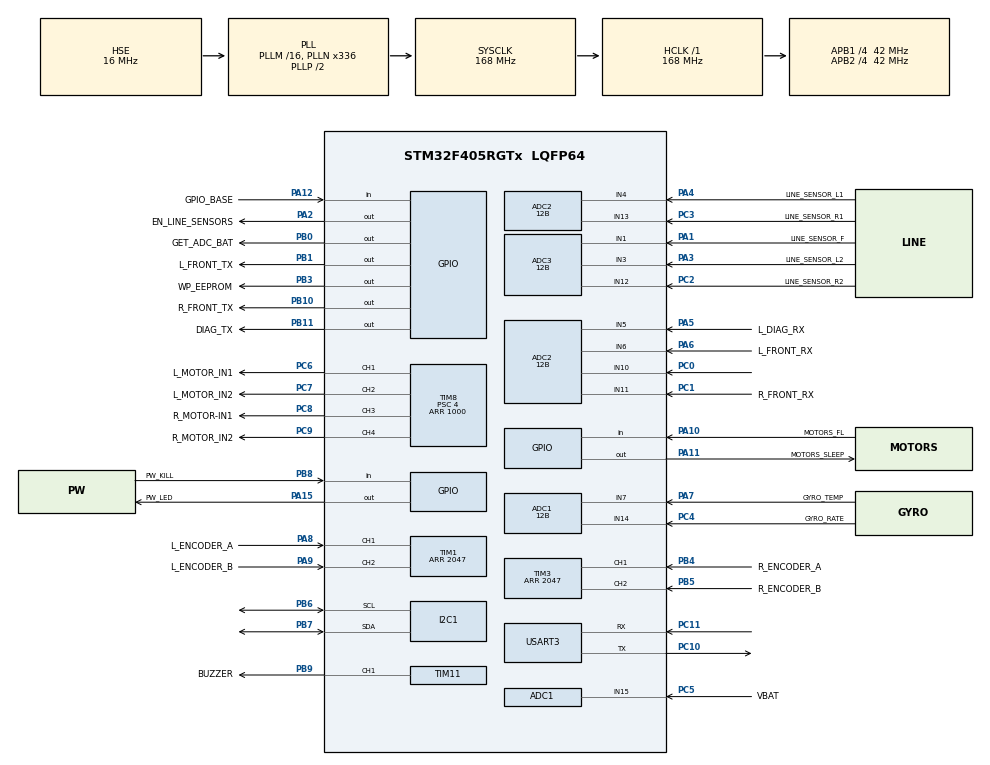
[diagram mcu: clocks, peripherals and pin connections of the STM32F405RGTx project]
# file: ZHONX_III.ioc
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ADC1.Channel=ADC_CHANNEL_15
ADC1.Channel-13\#ChannelRegularConversion=ADC_CHANNEL_7
ADC1.Channel-14\#ChannelRegularConversion=ADC_CHANNEL_TEMPSENSOR
ADC1.Channel-15\#ChannelRegularConversion=ADC_CHANNEL_15
ADC1.Channel-19\#ChannelInjectedConversion=ADC_CHANNEL_14
ADC1.Channel-2\#ChannelRegularConversion=ADC_CHANNEL_7
ADC1.ClockPrescaler=ADC_CLOCK_SYNC_PCLK_DIV2
ADC1.ContinuousConvMode=DISABLE
ADC1.DMAContinuousRequests=ENABLE
ADC1.DataAlign=ADC_DATAALIGN_RIGHT
ADC1.DiscontinuousConvMode=ENABLE
ADC1.EOCSelection=ADC_EOC_SEQ_CONV
ADC1.EnableAnalogWatchDog=false
ADC1.ExternalTrigConv=ADC_EXTERNALTRIGCONV_T4_CC4
ADC1.ExternalTrigConvEdge=ADC_EXTERNALTRIGCONVEDGE_RISING
ADC1.ExternalTrigInjecConv=ADC_EXTERNALTRIGINJECCONV_T5_TRGO
ADC1.ExternalTrigInjecConvEdge=ADC_EXTERNALTRIGINJECCONVEDGE_RISING
ADC1.InjNumberOfConversion=1
ADC1.InjectedConvMode=None
ADC1.InjectedOffset-19\#ChannelInjectedConversion=0
ADC1.NbrOfConversion=3
ADC1.NbrOfDiscConversion=3
ADC1.Rank-13\#ChannelRegularConversion=1
ADC1.Rank-14\#ChannelRegularConversion=2
ADC1.Rank-15\#ChannelRegularConversion=3
ADC1.Rank-19\#ChannelInjectedConversion=1
ADC1.Rank-2\#ChannelRegularConversion=1
ADC1.Resolution=ADC_RESOLUTION_12B
ADC1.SamplingTime-13\#ChannelRegularConversion=ADC_SAMPLETIME_28CYCLES
ADC1.SamplingTime-14\#ChannelRegularConversion=ADC_SAMPLETIME_28CYCLES
ADC1.SamplingTime-15\#ChannelRegularConversion=ADC_SAMPLETIME_28CYCLES
ADC1.SamplingTime-19\#ChannelInjectedConversion=ADC_SAMPLETIME_3CYCLES
ADC1.SamplingTime-2\#ChannelRegularConversion=ADC_SAMPLETIME_28CYCLES
ADC1.ScanConvMode=ENABLE
ADC1.master=1
ADC2.Channel=ADC_CHANNEL_11
ADC2.Channel-10\#ChannelInjectedConversion=ADC_CHANNEL_4
ADC2.Channel-11\#ChannelInjectedConversion=ADC_CHANNEL_13
ADC2.Channel-4\#ChannelRegularConversion=ADC_CHANNEL_6
ADC2.Channel-8\#ChannelInjectedConversion=ADC_CHANNEL_4
ADC2.Channel-9\#ChannelInjectedConversion=ADC_CHANNEL_11
ADC2.ContinuousConvMode=DISABLE
ADC2.DMAContinuousRequests=DISABLE
ADC2.DataAlign=ADC_DATAALIGN_RIGHT
ADC2.DiscontinuousConvMode=DISABLE
ADC2.EOCSelection=ADC_EOC_SINGLE_CONV
ADC2.EnableAnalogWatchDog=false
ADC2.ExternalTrigConvEdge=ADC_EXTERNALTRIGCONVEDGE_NONE
ADC2.InjNumberOfConversion=0
ADC2.InjectedOffset-10\#ChannelInjectedConversion=0
ADC2.InjectedOffset-11\#ChannelInjectedConversion=0
ADC2.InjectedOffset-8\#ChannelInjectedConversion=0
ADC2.InjectedOffset-9\#ChannelInjectedConversion=0
ADC2.NbrOfConversion=1
ADC2.Rank-10\#ChannelInjectedConversion=1
ADC2.Rank-11\#ChannelInjectedConversion=2
ADC2.Rank-4\#ChannelRegularConversion=1
ADC2.Rank-8\#ChannelInjectedConversion=1
ADC2.Rank-9\#ChannelInjectedConversion=2
ADC2.Resolution=ADC_RESOLUTION_12B
ADC2.SamplingTime-10\#ChannelInjectedConversion=ADC_SAMPLETIME_15CYCLES
ADC2.SamplingTime-11\#ChannelInjectedConversion=ADC_SAMPLETIME_15CYCLES
ADC2.SamplingTime-4\#ChannelRegularConversion=ADC_SAMPLETIME_144CYCLES
ADC2.SamplingTime-8\#ChannelInjectedConversion=ADC_SAMPLETIME_15CYCLES
ADC2.SamplingTime-9\#ChannelInjectedConversion=ADC_SAMPLETIME_15CYCLES
ADC2.ScanConvMode=ENABLE
ADC3.Channel=ADC_CHANNEL_10
ADC3.Channel-59\#ChannelRegularConversion=ADC_CHANNEL_3
ADC3.Channel-60\#ChannelRegularConversion=ADC_CHANNEL_1
ADC3.Channel-61\#ChannelRegularConversion=ADC_CHANNEL_10
ADC3.Channel-62\#ChannelInjectedConversion=ADC_CHANNEL_3
ADC3.Channel-63\#ChannelInjectedConversion=ADC_CHANNEL_1
ADC3.Channel-64\#ChannelInjectedConversion=ADC_CHANNEL_10
ADC3.ContinuousConvMode=DISABLE
ADC3.DMAContinuousRequests=DISABLE
ADC3.DataAlign=ADC_DATAALIGN_RIGHT
ADC3.DiscontinuousConvMode=DISABLE
ADC3.EOCSelection=ADC_EOC_SINGLE_CONV
ADC3.EnableAnalogWatchDog=false
ADC3.ExternalTrigConv=ADC_SOFTWARE_START
ADC3.ExternalTrigConvEdge=ADC_EXTERNALTRIGCONVEDGE_NONE
ADC3.InjNumberOfConversion=0
ADC3.InjectedOffset-62\#ChannelInjectedConversion=0
ADC3.InjectedOffset-63\#ChannelInjectedConversion=0
ADC3.InjectedOffset-64\#ChannelInjectedConversion=0
ADC3.NbrOfConversion=3
ADC3.Rank-59\#ChannelRegularConversion=1
ADC3.Rank-60\#ChannelRegularConversion=2
ADC3.Rank-61\#ChannelRegularConversion=3
ADC3.Rank-62\#ChannelInjectedConversion=1
ADC3.Rank-63\#ChannelInjectedConversion=2
ADC3.Rank-64\#ChannelInjectedConversion=3
ADC3.Resolution=ADC_RESOLUTION_12B
ADC3.SamplingTime-59\#ChannelRegularConversion=ADC_SAMPLETIME_15CYCLES
ADC3.SamplingTime-60\#ChannelRegularConversion=ADC_SAMPLETIME_15CYCLES
ADC3.SamplingTime-61\#ChannelRegularConversion=ADC_SAMPLETIME_28CYCLES
ADC3.SamplingTime-62\#ChannelInjectedConversion=ADC_SAMPLETIME_15CYCLES
ADC3.SamplingTime-63\#ChannelInjectedConversion=ADC_SAMPLETIME_15CYCLES
ADC3.SamplingTime-64\#ChannelInjectedConversion=ADC_SAMPLETIME_15CYCLES
ADC3.ScanConvMode=ENABLE
Dma.ADC1.2.Direction=DMA_PERIPH_TO_MEMORY
Dma.ADC1.2.FIFOMode=DMA_FIFOMODE_DISABLE
Dma.ADC1.2.Instance=DMA2_Stream0
Dma.ADC1.2.MemDataAlignment=DMA_MDATAALIGN_HALFWORD
Dma.ADC1.2.MemInc=DMA_MINC_ENABLE
Dma.ADC1.2.Mode=DMA_CIRCULAR
Dma.ADC1.2.PeriphDataAlignment=DMA_PDATAALIGN_HALFWORD
Dma.ADC1.2.PeriphInc=DMA_PINC_DISABLE
Dma.ADC1.2.Priority=DMA_PRIORITY_LOW
Dma.I2C1_TX.3.Direction=DMA_MEMORY_TO_PERIPH
Dma.I2C1_TX.3.FIFOMode=DMA_FIFOMODE_DISABLE
Dma.I2C1_TX.3.Instance=DMA1_Stream6
Dma.I2C1_TX.3.MemDataAlignment=DMA_MDATAALIGN_BYTE
Dma.I2C1_TX.3.MemInc=DMA_MINC_ENABLE
Dma.I2C1_TX.3.Mode=DMA_NORMAL
Dma.I2C1_TX.3.PeriphDataAlignment=DMA_PDATAALIGN_BYTE
Dma.I2C1_TX.3.PeriphInc=DMA_PINC_DISABLE
Dma.I2C1_TX.3.Priority=DMA_PRIORITY_MEDIUM
Dma.Request0=USART3_RX
Dma.Request1=USART3_TX
Dma.Request2=ADC1
Dma.Request3=I2C1_TX
Dma.USART3_RX.0.Direction=DMA_PERIPH_TO_MEMORY
Dma.USART3_RX.0.FIFOMode=DMA_FIFOMODE_DISABLE
Dma.USART3_RX.0.Instance=DMA1_Stream1
Dma.USART3_RX.0.MemDataAlignment=DMA_MDATAALIGN_BYTE
Dma.USART3_RX.0.MemInc=DMA_MINC_ENABLE
Dma.USART3_RX.0.Mode=DMA_NORMAL
Dma.USART3_RX.0.PeriphDataAlignment=DMA_PDATAALIGN_BYTE
Dma.USART3_RX.0.PeriphInc=DMA_PINC_DISABLE
Dma.USART3_RX.0.Priority=DMA_PRIORITY_LOW
Dma.USART3_TX.1.Direction=DMA_MEMORY_TO_PERIPH
Dma.USART3_TX.1.FIFOMode=DMA_FIFOMODE_ENABLE
Dma.USART3_TX.1.FIFOThreshold=DMA_FIFO_THRESHOLD_FULL
Dma.USART3_TX.1.Instance=DMA1_Stream3
Dma.USART3_TX.1.MemBurst=DMA_MBURST_SINGLE
Dma.USART3_TX.1.MemDataAlignment=DMA_MDATAALIGN_BYTE
Dma.USART3_TX.1.MemInc=DMA_MINC_ENABLE
Dma.USART3_TX.1.Mode=DMA_NORMAL
Dma.USART3_TX.1.PeriphBurst=DMA_PBURST_SINGLE
Dma.USART3_TX.1.PeriphDataAlignment=DMA_PDATAALIGN_BYTE
Dma.USART3_TX.1.PeriphInc=DMA_PINC_DISABLE
Dma.USART3_TX.1.Priority=DMA_PRIORITY_LOW
I2C1.DualAddressMode=I2C_DUALADDRESS_DISABLE
I2C1.GeneralCallMode=I2C_GENERALCALL_ENABLE
I2C1.I2C_Mode=I2C_Fast
I2C1.NoStretchMode=I2C_NOSTRETCH_ENABLE
I2C1.OwnAddress=64
Mcu.Family=STM32F4
Mcu.Name=STM32F405RGTx
Mcu.Package=LQFP64
NVIC.ADC_IRQn=true\:0\:4\:true\:false\:true\:true
NVIC.DMA1_Stream1_IRQn=true\:1\:1\:true\:false\:true\:true
NVIC.DMA1_Stream3_IRQn=true\:1\:3\:true\:false\:true\:true
NVIC.DMA1_Stream6_IRQn=true\:1\:3\:true\:false\:true\:false
NVIC.DMA2_Stream0_IRQn=true\:0\:6\:true\:false\:true\:true
NVIC.I2C1_ER_IRQn=true\:1\:2\:true\:false\:true\:true
NVIC.I2C1_EV_IRQn=true\:1\:2\:true\:false\:true\:true
NVIC.PriorityGroup=NVIC_PRIORITYGROUP_1
NVIC.TIM1_UP_TIM10_IRQn=true\:0\:2\:true\:false\:true\:true
NVIC.TIM2_IRQn=true\:0\:4\:true\:false\:true\:true
NVIC.TIM3_IRQn=true\:0\:2\:true\:false\:true\:true
NVIC.TIM4_IRQn=true\:0\:6\:true\:false\:true\:true
NVIC.TIM5_IRQn=true\:0\:1\:true\:false\:true\:true
NVIC.TIM6_DAC_IRQn=true\:1\:0\:true\:false\:true\:true
NVIC.TIM7_IRQn=true\:0\:3\:true\:false\:true\:true
NVIC.USART3_IRQn=true\:0\:5\:true\:false\:true\:true
PA0-WKUP.Mode=SYS_WakeUp0
PA0-WKUP.Signal=SYS_WKUP
PA1.GPIO_Label=LINE_SENSOR_F
PA1.GPIO_Mode=GPIO_MODE_ANALOG
PA1.GPIO_PuPd=GPIO_NOPULL
PA1.Signal=ADCx_IN1
PA10.GPIO_Label=MOTORS_FL
PA10.GPIO_Mode=GPIO_MODE_INPUT
PA10.GPIO_PuPd=GPIO_NOPULL
PA10.Signal=GPIO_Input
PA11.GPIO_Label=MOTORS_SLEEP
PA11.GPIO_ModeDefaultOutputPP=GPIO_MODE_OUTPUT_PP
PA11.GPIO_PuPd=GPIO_NOPULL
PA11.GPIO_Speed=GPIO_SPEED_FREQ_LOW
PA11.Signal=GPIO_Output
PA12.GPIO_Label=GPIO_BASE
PA12.GPIO_Mode=GPIO_MODE_INPUT
PA12.GPIO_PuPd=GPIO_PULLUP
PA12.Signal=GPIO_Input
PA13.Mode=Serial_Wire
PA13.Signal=SYS_JTMS-SWDIO
PA14.Mode=Serial_Wire
PA14.Signal=SYS_JTCK-SWCLK
PA15.GPIO_Label=PW_LED
PA15.GPIO_Mode=GPIO_MODE_OUTPUT_PP
PA15.GPIO_ModeDefaultOutputPP=GPIO_MODE_OUTPUT_PP
PA15.GPIO_PuPd=GPIO_NOPULL
PA15.GPIO_Speed=GPIO_SPEED_FREQ_HIGH
PA15.PinState=GPIO_PIN_RESET
PA15.Signal=GPIO_Output
PA2.GPIO_Label=EN_LINE_SENSORS
PA2.GPIO_ModeDefaultOutputPP=GPIO_MODE_OUTPUT_PP
PA2.GPIO_PuPd=GPIO_NOPULL
PA2.GPIO_Speed=GPIO_SPEED_FREQ_LOW
PA2.Signal=GPIO_Output
PA3.GPIO_Label=LINE_SENSOR_L2
PA3.GPIO_Mode=GPIO_MODE_ANALOG
PA3.GPIO_PuPd=GPIO_NOPULL
PA3.Signal=ADCx_IN3
PA4.GPIO_Label=LINE_SENSOR_L1
PA4.GPIO_Mode=GPIO_MODE_ANALOG
PA4.GPIO_PuPd=GPIO_NOPULL
PA4.Signal=ADCx_IN4
PA5.GPIO_Label=L_DIAG_RX
PA5.GPIO_Mode=GPIO_MODE_ANALOG
PA5.GPIO_PuPd=GPIO_NOPULL
PA5.Signal=ADCx_IN5
PA6.GPIO_Label=L_FRONT_RX
PA6.GPIO_Mode=GPIO_MODE_ANALOG
PA6.GPIO_PuPd=GPIO_NOPULL
PA6.Signal=ADCx_IN6
PA7.GPIO_Label=GYRO_TEMP
PA7.GPIO_Mode=GPIO_MODE_ANALOG
PA7.GPIO_PuPd=GPIO_NOPULL
PA7.Signal=ADCx_IN7
PA8.GPIO_Label=L_ENCODER_A
PA8.GPIO_ModeDefaultPP=GPIO_MODE_AF_PP
PA8.GPIO_PuPd=GPIO_NOPULL
PA8.GPIO_Speed=GPIO_SPEED_FREQ_VERY_HIGH
PA8.Signal=S_TIM1_CH1
PA9.GPIO_Label=L_ENCODER_B
PA9.GPIO_ModeDefaultPP=GPIO_MODE_AF_PP
PA9.GPIO_PuPd=GPIO_NOPULL
PA9.GPIO_Speed=GPIO_SPEED_FREQ_VERY_HIGH
PA9.Signal=S_TIM1_CH2
PB0.GPIO_Label=GET_ADC_BAT
PB0.GPIO_ModeDefaultOutputPP=GPIO_MODE_OUTPUT_PP
PB0.GPIO_PuPd=GPIO_NOPULL
PB0.GPIO_Speed=GPIO_SPEED_FREQ_VERY_HIGH
PB0.Signal=GPIO_Output
PB1.GPIO_Label=L_FRONT_TX
PB1.GPIO_ModeDefaultOutputPP=GPIO_MODE_OUTPUT_PP
PB1.GPIO_PuPd=GPIO_NOPULL
PB1.GPIO_Speed=GPIO_SPEED_FREQ_VERY_HIGH
PB1.Signal=GPIO_Output
PB10.GPIO_Label=R_FRONT_TX
PB10.GPIO_ModeDefaultOutputPP=GPIO_MODE_OUTPUT_PP
PB10.GPIO_PuPd=GPIO_NOPULL
PB10.GPIO_Speed=GPIO_SPEED_FREQ_VERY_HIGH
PB10.Signal=GPIO_Output
PB11.GPIO_Label=DIAG_TX
PB11.GPIO_ModeDefaultOutputPP=GPIO_MODE_OUTPUT_PP
PB11.GPIO_PuPd=GPIO_NOPULL
PB11.GPIO_Speed=GPIO_SPEED_FREQ_VERY_HIGH
PB11.Signal=GPIO_Output
PB3.GPIO_Label=WP_EEPROM
PB3.GPIO_ModeDefaultOutputPP=GPIO_MODE_OUTPUT_PP
PB3.GPIO_PuPd=GPIO_NOPULL
PB3.GPIO_Speed=GPIO_SPEED_FREQ_LOW
PB3.Signal=GPIO_Output
PB4.GPIO_Label=R_ENCODER_A
PB4.GPIO_ModeDefaultPP=GPIO_MODE_AF_PP
PB4.GPIO_PuPd=GPIO_NOPULL
PB4.GPIO_Speed=GPIO_SPEED_FREQ_VERY_HIGH
PB4.Signal=S_TIM3_CH1
PB5.GPIO_Label=R_ENCODER_B
PB5.GPIO_ModeDefaultPP=GPIO_MODE_AF_PP
PB5.GPIO_PuPd=GPIO_NOPULL
PB5.GPIO_Speed=GPIO_SPEED_FREQ_VERY_HIGH
PB5.Signal=S_TIM3_CH2
PB6.GPIO_Mode=GPIO_MODE_AF_OD
PB6.GPIO_PuPd=GPIO_NOPULL
PB6.GPIO_PuPdOD=GPIO_PULLUP
PB6.GPIO_Speed=GPIO_SPEED_FREQ_VERY_HIGH
PB6.Mode=I2C
PB6.Signal=I2C1_SCL
PB7.GPIO_Mode=GPIO_MODE_AF_OD
PB7.GPIO_PuPd=GPIO_NOPULL
PB7.GPIO_PuPdOD=GPIO_PULLUP
PB7.GPIO_Speed=GPIO_SPEED_FREQ_VERY_HIGH
PB7.Mode=I2C
PB7.Signal=I2C1_SDA
PB8.GPIO_Label=PW_KILL
PB8.GPIO_Mode=GPIO_MODE_INPUT
PB8.GPIO_PuPd=GPIO_PULLUP
PB8.Signal=GPIO_Input
PB9.GPIO_Label=BUZZER
PB9.GPIO_Speed=GPIO_SPEED_FREQ_VERY_HIGH
PB9.Signal=S_TIM11_CH1
PC0.Signal=ADCx_IN10
PC1.GPIO_Label=R_FRONT_RX
PC1.GPIO_Mode=GPIO_MODE_ANALOG
PC1.GPIO_PuPd=GPIO_NOPULL
PC1.Signal=ADCx_IN11
PC10.Mode=Asynchronous
PC10.Signal=USART3_TX
PC11.Mode=Asynchronous
PC11.Signal=USART3_RX
PC2.GPIO_Label=LINE_SENSOR_R2
PC2.GPIO_Mode=GPIO_MODE_ANALOG
PC2.GPIO_PuPd=GPIO_NOPULL
PC2.Signal=ADCx_IN12
PC3.GPIO_Label=LINE_SENSOR_R1
PC3.GPIO_Mode=GPIO_MODE_ANALOG
PC3.GPIO_PuPd=GPIO_NOPULL
PC3.Signal=ADCx_IN13
PC4.GPIO_Label=GYRO_RATE
PC4.GPIO_Mode=GPIO_MODE_ANALOG
PC4.GPIO_PuPd=GPIO_NOPULL
PC4.Signal=ADCx_IN14
PC5.GPIO_Label=VBAT
PC5.GPIO_Mode=GPIO_MODE_ANALOG
PC5.GPIO_PuPd=GPIO_NOPULL
PC5.Signal=ADCx_IN15
PC6.GPIO_Label=L_MOTOR_IN1
PC6.GPIO_ModeDefaultPP=GPIO_MODE_AF_PP
PC6.GPIO_PuPd=GPIO_NOPULL
PC6.GPIO_Speed=GPIO_SPEED_FREQ_VERY_HIGH
PC6.Signal=S_TIM8_CH1
PC7.GPIO_Label=L_MOTOR_IN2
PC7.GPIO_ModeDefaultPP=GPIO_MODE_AF_PP
PC7.GPIO_PuPd=GPIO_NOPULL
PC7.GPIO_Speed=GPIO_SPEED_FREQ_VERY_HIGH
PC7.Signal=S_TIM8_CH2
PC8.GPIO_Label=R_MOTOR-IN1
PC8.GPIO_ModeDefaultPP=GPIO_MODE_AF_PP
PC8.GPIO_PuPd=GPIO_NOPULL
PC8.GPIO_Speed=GPIO_SPEED_FREQ_VERY_HIGH
PC8.Signal=S_TIM8_CH3
PC9.GPIO_Label=R_MOTOR_IN2
PC9.GPIO_ModeDefaultPP=GPIO_MODE_AF_PP
PC9.GPIO_PuPd=GPIO_NOPULL
PC9.GPIO_Speed=GPIO_SPEED_FREQ_VERY_HIGH
PC9.Signal=S_TIM8_CH4
PH0-OSC_IN.Mode=HSE-External-Oscillator
PH0-OSC_IN.Signal=RCC_OSC_IN
PH1-OSC_OUT.Mode=HSE-External-Oscillator
PH1-OSC_OUT.Signal=RCC_OSC_OUT
ProjectManager.HeapSize=0x400
ProjectManager.StackSize=0x200
ProjectManager.TargetToolchain=SW4STM32
RCC.48MHZClocksFreq_Value=48000000
RCC.AHBFreq_Value=168000000
RCC.APB1CLKDivider=RCC_HCLK_DIV4
RCC.APB1Freq_Value=42000000
RCC.APB1TimFreq_Value=84000000
RCC.APB2CLKDivider=RCC_HCLK_DIV4
RCC.APB2Freq_Value=42000000
RCC.APB2TimFreq_Value=84000000
RCC.CortexFreq_Value=168000000
RCC.HCLKFreq_Value=168000000
RCC.HSE_VALUE=16000000
RCC.HSI_VALUE=16000000
RCC.LSE_VALUE=32768
RCC.PLLN=336
RCC.PLLQ=7
RCC.PLLSourceVirtual=RCC_PLLSOURCE_HSE
RCC.SYSCLKFreq_VALUE=168000000
RCC.SYSCLKSource=RCC_SYSCLKSOURCE_PLLCLK
RCC.VCOOutputFreq_Value=336000000
SH.ADCx_IN1.0=ADC3_IN1,IN1
SH.ADCx_IN10.0=ADC2_IN10,IN10
SH.ADCx_IN10.1=ADC3_IN10,IN10
SH.ADCx_IN11.0=ADC2_IN11,IN11
SH.ADCx_IN12.0=ADC3_IN12,IN12
SH.ADCx_IN13.0=ADC2_IN13,IN13
SH.ADCx_IN14.0=ADC1_IN14,IN14
SH.ADCx_IN15.0=ADC1_IN15,IN15
SH.ADCx_IN3.0=ADC3_IN3,IN3
SH.ADCx_IN4.0=ADC2_IN4,IN4
SH.ADCx_IN5.0=ADC2_IN5,IN5
SH.ADCx_IN6.0=ADC2_IN6,IN6
SH.ADCx_IN7.0=ADC1_IN7,IN7
SH.S_TIM11_CH1.0=TIM11_CH1,PWM Generation1 CH1
SH.S_TIM1_CH1.0=TIM1_CH1,Encoder_Interface
SH.S_TIM1_CH2.0=TIM1_CH2,Encoder_Interface
SH.S_TIM3_CH1.0=TIM3_CH1,Encoder_Interface
SH.S_TIM3_CH2.0=TIM3_CH2,Encoder_Interface
SH.S_TIM8_CH1.0=TIM8_CH1,PWM Generation1 CH1
SH.S_TIM8_CH2.0=TIM8_CH2,PWM Generation2 CH2
SH.S_TIM8_CH3.0=TIM8_CH3,Output Compare3 CH3
SH.S_TIM8_CH4.0=TIM8_CH4,PWM Generation4 CH4
TIM1.ClockDivision=TIM_CLOCKDIVISION_DIV1
TIM1.EncoderMode=TIM_ENCODERMODE_TI12
TIM1.IC1Filter=8
TIM1.IC1Filter-Encoder_Interface=3
TIM1.IC1Prescaler=TIM_ICPSC_DIV4
TIM1.IC1Prescaler-Encoder_Interface=TIM_ICPSC_DIV8
TIM1.IC2Filter=8
TIM1.IC2Prescaler=TIM_ICPSC_DIV4
TIM1.Period=2047
TIM11.Channel=TIM_CHANNEL_1
TIM11.OCPolarity_1-PWM\ Generation1\ CH1=TIM_OCPOLARITY_LOW
TIM11.Period=100
TIM11.Prescaler=10000
TIM11.Pulse-PWM\ Generation1\ CH1=50
TIM3.EncoderMode=TIM_ENCODERMODE_TI12
TIM3.IC1Filter=8
TIM3.IC1Filter-Encoder_Interface=3
TIM3.IC1Prescaler=TIM_ICPSC_DIV4
TIM3.IC1Prescaler-Encoder_Interface=TIM_ICPSC_DIV8
TIM3.IC2Filter=8
TIM3.IC2Prescaler=TIM_ICPSC_DIV4
TIM3.Period=2047
TIM4.Period=10
TIM4.Prescaler=1800
TIM6.Period=10
TIM6.Prescaler=60000
TIM7.Period=10
TIM7.Prescaler=60000
TIM8.BreakPolarity=TIM_BREAKPOLARITY_LOW
TIM8.Channel-Output\ Compare3\ CH3=TIM_CHANNEL_3
TIM8.Channel-PWM\ Generation1\ CH1=TIM_CHANNEL_1
TIM8.Channel-PWM\ Generation2\ CH2=TIM_CHANNEL_2
TIM8.Channel-PWM\ Generation4\ CH4=TIM_CHANNEL_4
TIM8.ClockDivision=TIM_CLOCKDIVISION_DIV1
TIM8.OCFastMode_PWM-PWM\ Generation4\ CH4=TIM_OCFAST_ENABLE
TIM8.OCIdleState_4-PWM\ Generation4\ CH4=TIM_OCIDLESTATE_SET
TIM8.OCPolarity_4-PWM\ Generation4\ CH4=TIM_OCPOLARITY_LOW
TIM8.Period=1000
TIM8.Prescaler=4
TIM8.Pulse-PWM\ Generation4\ CH4=500
USART3.VirtualMode=VM_ASYNC
VP_ADC1_TempSens_Input.Mode=IN-TempSens
VP_RNG_VS_RNG.Mode=RNG_Activate
VP_TIM11_VS_ClockSourceINT.Mode=Enable_Timer
VP_TIM2_VS_ClockSourceINT.Mode=Internal
VP_TIM4_VS_ClockSourceINT.Mode=Internal
VP_TIM5_VS_ClockSourceINT.Mode=Internal
VP_TIM6_VS_ClockSourceINT.Mode=Enable_Timer
VP_TIM7_VS_ClockSourceINT.Mode=Enable_Timer
VP_TIM8_VS_ClockSourceINT.Mode=Internal
board=ZHONX_III

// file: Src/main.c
/* USER CODE BEGIN Header */
/**
  ******************************************************************************
  * @file           : main.c
  * @brief          : Main program body
  ******************************************************************************
  ** This notice applies to any and all portions of this file
  * that are not between comment pairs USER CODE BEGIN and
  * USER CODE END. Other portions of this file, whether
  * inserted by the user or by software development tools
  * are owned by their respective copyright owners.
  *
  * COPYRIGHT(c) 2019 STMicroelectronics
  *
  * Redistribution and use in source and binary forms, with or without modification,
  * are permitted provided that the following conditions are met:
  *   1. Redistributions of source code must retain the above copyright notice,
  *      this list of conditions and the following disclaimer.
  *   2. Redistributions in binary form must reproduce the above copyright notice,
  *      this list of conditions and the following disclaimer in the documentation
  *      and/or other materials provided with the distribution.
  *   3. Neither the name of STMicroelectronics nor the names of its contributors
  *      may be used to endorse or promote products derived from this software
  *      without specific prior written permission.
  *
  * THIS SOFTWARE IS PROVIDED BY THE COPYRIGHT HOLDERS AND CONTRIBUTORS "AS IS"
  * AND ANY EXPRESS OR IMPLIED WARRANTIES, INCLUDING, BUT NOT LIMITED TO, THE
  * IMPLIED WARRANTIES OF MERCHANTABILITY AND FITNESS FOR A PARTICULAR PURPOSE ARE
  * DISCLAIMED. IN NO EVENT SHALL THE COPYRIGHT HOLDER OR CONTRIBUTORS BE LIABLE
  * FOR ANY DIRECT, INDIRECT, INCIDENTAL, SPECIAL, EXEMPLARY, OR CONSEQUENTIAL
  * DAMAGES (INCLUDING, BUT NOT LIMITED TO, PROCUREMENT OF SUBSTITUTE GOODS OR
  * SERVICES; LOSS OF USE, DATA, OR PROFITS; OR BUSINESS INTERRUPTION) HOWEVER
  * CAUSED AND ON ANY THEORY OF LIABILITY, WHETHER IN CONTRACT, STRICT LIABILITY,
  * OR TORT (INCLUDING NEGLIGENCE OR OTHERWISE) ARISING IN ANY WAY OUT OF THE USE
  * OF THIS SOFTWARE, EVEN IF ADVISED OF THE POSSIBILITY OF SUCH DAMAGE.
  *
  ******************************************************************************
  */
/* USER CODE END Header */

#include "main.h"
#include "adc.h"
#include "dma.h"
#include "i2c.h"
#include "rng.h"
#include "tim.h"
#include "usart.h"
#include "gpio.h"

/* USER CODE BEGIN Includes */
#include <string.h>

#include <application/display/menu.h>
#include <middleware/cmdline/cmdline_parser.h>
#include <middleware/controls/mainControl/mainControl.h>
#include <middleware/controls/mainControl/positionControl.h>
#include <middleware/moves/mazeMoves/spyPost.h>
#include <middleware/settings/settings.h>
#include <peripherals/bluetooth/bluetooth.h>
#include <peripherals/display/ssd1306.h>
#include <peripherals/expander/pcf8574.h>
#include <peripherals/flash/flash.h>
#include <peripherals/multimeter/multimeter.h>
#include <peripherals/times_base/times_base.h>
#include <peripherals/tone/tone.h>
#include <peripherals/telemeters/telemeters.h>
#include <peripherals/motors/motors.h>

/* USER CODE END Includes */

/* USER CODE BEGIN PV */
static int setZhonxName(void);

static char zhonxName[24];
/* USER CODE END PV */

void SystemClock_Config(void);
/* USER CODE BEGIN PFP */
static inline void blockingPrintf(const char *format, ...);

/* USER CODE END PFP */

/* USER CODE BEGIN 0 */
extern const menuItem mainMenu;
extern const menuItem zhonxNameMenu;

static inline void blockingPrintf(const char *format, ...)
{
    bluetoothPrintf(format);
    bluetoothWaitReady();
}
/* USER CODE END 0 */

int main(void)
{
  /* USER CODE BEGIN 1 */
    CMDLINE_CONTEXT cmd_context;
    const char *zhonx_info = (char *)CONFIG_ZHONX_INFO_ADDR;
  /* USER CODE END 1 */

  /* MCU Configuration--------------------------------------------------------*/

  /* Reset of all peripherals, Initializes the Flash interface and the Systick. */
  HAL_Init();

  /* Configure the system clock */
  SystemClock_Config();

  /* Initialize all configured peripherals */
  MX_GPIO_Init();
  MX_DMA_Init();
  MX_ADC1_Init();
  MX_ADC2_Init();
  MX_ADC3_Init();
  MX_I2C1_Init();
  MX_RNG_Init();
  MX_TIM1_Init();
  MX_TIM2_Init();
  MX_TIM3_Init();
  MX_TIM4_Init();
  MX_TIM5_Init();
  MX_TIM6_Init();
  MX_TIM7_Init();
  MX_TIM8_Init();
  MX_TIM11_Init();
  MX_USART3_UART_Init();
  /* USER CODE BEGIN 2 */
    expanderInit();
    ssd1306Init(0);
    mainControlInit();
    timesBaseInit();
    ledPowerBlink(990, 10);
    settingsInit();
    mulimeterInit();
    bluetoothInit();
    toneInit();
    spyPostInit();

    for (int i = 0; i < 6; i++)
    {
        int j = 0b11100;
        expanderSetLeds(j >> i);
        HAL_Delay(20);
    }

    positionControlSetPositionType(GYRO);
    mainControlSetFollowType(NO_FOLLOW);

    toneSetVolulme(100);
    tone(F4, 50);
    toneItMode(A4, 50);

    // Register Output callback
    cmd_context.out = blockingPrintf;
    // Initialize Command Line module
    cmdline_init(&cmd_context);

    // Check if robot name is populated in Flash
    memset(zhonxName, 0, sizeof(zhonxName));
    // Retrieve ZHONX information from flash if any
    if (zhonx_info[0] == 'Z')
    {
        strcpy(zhonxName, zhonx_info);
    }

    while (zhonxName[0] == 0)
    {
        menu(zhonxNameMenu);
    }

    while (1)
    {
        menu(mainMenu);
        powerOffConfirmation();
    }

  /* USER CODE END 2 */

  /* Infinite loop */
  /* USER CODE BEGIN WHILE */
    while (1)
        ;
    /* USER CODE END WHILE */

}

void SystemClock_Config(void)
{
  RCC_OscInitTypeDef RCC_OscInitStruct = {0};
  RCC_ClkInitTypeDef RCC_ClkInitStruct = {0};

  /**Configure the main internal regulator output voltage
  */
  __HAL_RCC_PWR_CLK_ENABLE();
  __HAL_PWR_VOLTAGESCALING_CONFIG(PWR_REGULATOR_VOLTAGE_SCALE1);
  /**Initializes the CPU, AHB and APB busses clocks
  */
  RCC_OscInitStruct.OscillatorType = RCC_OSCILLATORTYPE_HSE;
  RCC_OscInitStruct.HSEState = RCC_HSE_ON;
  RCC_OscInitStruct.PLL.PLLState = RCC_PLL_ON;
  RCC_OscInitStruct.PLL.PLLSource = RCC_PLLSOURCE_HSE;
  RCC_OscInitStruct.PLL.PLLM = 16;
  RCC_OscInitStruct.PLL.PLLN = 336;
  RCC_OscInitStruct.PLL.PLLP = RCC_PLLP_DIV2;
  RCC_OscInitStruct.PLL.PLLQ = 7;
  if (HAL_RCC_OscConfig(&RCC_OscInitStruct) != HAL_OK)
  {
    Error_Handler();
  }
  /**Initializes the CPU, AHB and APB busses clocks
  */
  RCC_ClkInitStruct.ClockType = RCC_CLOCKTYPE_HCLK|RCC_CLOCKTYPE_SYSCLK
                              |RCC_CLOCKTYPE_PCLK1|RCC_CLOCKTYPE_PCLK2;
  RCC_ClkInitStruct.SYSCLKSource = RCC_SYSCLKSOURCE_PLLCLK;
  RCC_ClkInitStruct.AHBCLKDivider = RCC_SYSCLK_DIV1;
  RCC_ClkInitStruct.APB1CLKDivider = RCC_HCLK_DIV4;
  RCC_ClkInitStruct.APB2CLKDivider = RCC_HCLK_DIV4;

  if (HAL_RCC_ClockConfig(&RCC_ClkInitStruct, FLASH_LATENCY_5) != HAL_OK)
  {
    Error_Handler();
  }
}

/* USER CODE BEGIN 4 */
int setMeddle(void)
{
    strcpy(zhonxName, ZHONX_GENERATION);
    strcat(zhonxName, " MEDDLE");
    // Set Bluetooth device name
    bluetoothCmd("at+ab config DeviceName=Meddle");
    bluetoothCmd("AT+AB Reset");
    return setZhonxName();
}

int setDark(void)
{
    strcpy(zhonxName, ZHONX_GENERATION);
    strcat(zhonxName, " DARK");
    // Set Bluetooth device name
    bluetoothCmd("at+ab config DeviceName=Dark");
    bluetoothCmd("AT+AB Reset");
    return setZhonxName();
}

static int setZhonxName(void)
{
    int rv;

    // Write Name in flash
    rv = flash_write(zhonxSettings.h_flash,
                     (unsigned char *)CONFIG_ZHONX_INFO_ADDR,
                     (unsigned char *)zhonxName, strlen(zhonxName) + 1);
    if (rv != FLASH_E_SUCCESS)
    {
        // TODO: handle this error
    }
    return 0;
}

void HardFault_Handler(void)
{
    telemetersStop();
    motorsDriverSleep(ON);
    motorsBrake();
    tone(A4, 4000);
    halt();
}

//void MemManage_Handler()
//{
//    telemetersStop();
//    motorsDriverSleep(ON);
//    motorsBrake();
//    tone(C4, 4000);
//    halt();
//}
//
//void BusFault_Handler()
//{
//    telemetersStop();
//    motorsDriverSleep(ON);
//    motorsBrake();
//    tone(C4, 4000);
//    halt();
//}
//
//void UsageFault_Handler()
//{
//    telemetersStop();
//    motorsDriverSleep(ON);
//    motorsBrake();
//    tone(D4, 4000);
//    halt();
//}
//
//void SVC_Handler()
//{
//    telemetersStop();
//    motorsDriverSleep(ON);
//    motorsBrake();
//    tone(E4, 4000);
//    halt();
//}
//
//void DebugMon_Handler()
//{
//    telemetersStop();
//    motorsDriverSleep(ON);
//    motorsBrake();
//    tone(F4, 4000);
//    halt();
//}
//
//void PendSV_Handler()
//{
//    telemetersStop();
//    motorsDriverSleep(ON);
//    motorsBrake();
//    tone(G4, 4000);
//    halt();
//}
//
//void FLASH_IRQHandler()
//{
//    telemetersStop();
//    motorsDriverSleep(ON);
//    motorsBrake();
//    tone(A5, 4000);
//    halt();
//}

/* USER CODE END 4 */

void Error_Handler(void)
{
    while(1)
    {
    }
}

/************************ (C) COPYRIGHT STMicroelectronics *****END OF FILE****/
